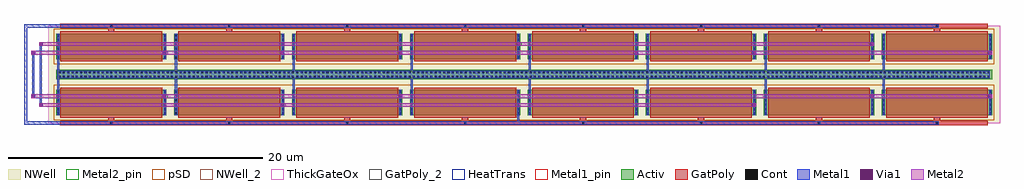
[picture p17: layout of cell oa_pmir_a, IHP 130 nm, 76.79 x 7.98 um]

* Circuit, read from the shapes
.subckt oa_pmir_a vdd
XM1 oa_pmir_a_r1_0/co oa_pmir_a_r1_0/vpg vdd vdd sg13_hv_pmos w=2u l=8u m=10
XM2 oa_pmir_a_r1_0/c8 oa_pmir_a_r1_0/vpg vdd vdd sg13_hv_pmos w=2u l=8u m=4
XM3 oa_pmir_a_r1_0/vpg oa_pmir_a_r1_0/vpg vdd vdd sg13_hv_pmos w=2u l=8u
XM4 oa_pmir_a_r2_1/c2 oa_pmir_a_r1_0/vpg vdd vdd sg13_hv_pmos w=2u l=8u
.ends

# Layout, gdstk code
import gdstk
lib = gdstk.Library(unit=1e-6, precision=1e-09)
def R(c, l, rs):  # rectangles x0, y0, x1, y1
    for r in rs: c.add(gdstk.rectangle(r[:2], r[2:], *l))
def A(c, l, x, y, w, h, nx, ny, dx, dy):  # array of equal rectangles
    R(c, l, [(x+i*dx, y+j*dy, x+i*dx+w, y+j*dy+h) for i in range(nx) for j in range(ny)])
Activ = (1, 0)
GatPoly = (5, 0)
GatPoly_2 = (5, 2)
Cont = (6, 0)
Metal1 = (8, 0)
Metal1_pin = (8, 2)
Metal2 = (10, 0)
Metal2_pin = (10, 2)
pSD = (14, 0)
Via1 = (19, 0)
NWell = (31, 0)
NWell_2 = (31, 2)
ThickGateOx = (44, 0)
HeatTrans = (51, 0)

pmoshv_9 = lib.new_cell('pmosHV$9')
R(pmoshv_9, Activ, [(0,0,0.3,0.3), (0,0,8.68,2), (8.38,0,8.68,0.3)])
R(pmoshv_9, GatPoly, [(0.34,-0.18,8.34,2.18)])
R(pmoshv_9, GatPoly_2, [(0.34,-0.18,8.34,2.18)])
A(pmoshv_9, Cont, 0.07, 0.07, 0.16, 0.16, 1, 6, 0, 0.34)
A(pmoshv_9, Cont, 8.45, 0.07, 0.16, 0.16, 1, 6, 0, 0.34)
R(pmoshv_9, Metal1, [(0.07,0,0.23,2), (8.45,0,8.61,2)])
R(pmoshv_9, Metal1_pin, [(0.07,0,0.23,2), (8.45,0,8.61,2)])
R(pmoshv_9, pSD, [(-0.18,-0.4,8.86,2.4)])
R(pmoshv_9, NWell, [(-0.62,-0.62,9.3,2.62)])
R(pmoshv_9, ThickGateOx, [(-0.62,-0.62,9.3,2.62)])
R(pmoshv_9, HeatTrans, [(0.34,-0.18,8.34,2.18)])
pmoshv_9.add(gdstk.Label('pmosHV', (4.34,1), layer=63, texttype=0))
pmoshv_9.add(gdstk.Label('pmos', (4.34,1), layer=51, texttype=0))

ntap1_12 = lib.new_cell('ntap1$12')
R(ntap1_12, Activ, [(0,0,73.64,0.78)])
A(ntap1_12, Cont, 0.19, 0.14, 0.16, 0.16, 216, 2, 0.34, 0.34)
R(ntap1_12, Metal1, [(0.19,0.09,73.45,0.69)])
R(ntap1_12, Metal1_pin, [(0.19,0.09,73.45,0.69), (0.19,0.14,73.45,0.64)])
R(ntap1_12, NWell, [(-0.24,-0.24,73.88,1.02), (0,0,73.64,0.78)])
R(ntap1_12, NWell_2, [(0,0,73.64,0.78)])
ntap1_12.add(gdstk.Label('well', (36.82,0.01), layer=63, texttype=0))
ntap1_12.add(gdstk.Label('well', (36.82,0.01), layer=31, texttype=0))

oa_pmir_a_r1 = lib.new_cell('oa_pmir_a_r1')
A(oa_pmir_a_r1, GatPoly, 4.09, 2, 0.5, 0.43, 8, 1, 9.28, 0)
R(oa_pmir_a_r1, GatPoly, [(0.34,2.42,73.3,2.78)])
A(oa_pmir_a_r1, Cont, 4.26, 2.52, 0.16, 0.16, 8, 1, 9.28, 0)
A(oa_pmir_a_r1, Metal1, 0.07, -1.01, 0.16, 1.06, 8, 1, 9.28, 0)
A(oa_pmir_a_r1, Metal1, 8.385, 0.355, 0.29, 0.29, 3, 1, 9.28, 0)
R(oa_pmir_a_r1, Metal1, [(0.07,-1.51,65.19,-0.91), (45.505,0.355,45.795,0.645), (54.785,0.355,55.075,0.645), (73.345,0.355,73.635,0.645), (36.225,1.055,36.515,1.345), (64.065,1.055,64.355,1.345), (4.21,2.47,69.43,2.73)])
R(oa_pmir_a_r1, Metal1_pin, [(0.19,-1.51,0.59,-0.91), (4.21,2.47,4.51,2.73)])
R(oa_pmir_a_r1, Metal2, [(8.385,0.355,73.635,0.645), (36.225,1.055,64.355,1.345)])
R(oa_pmir_a_r1, Metal2_pin, [(8.385,0.355,8.78,0.645), (36.225,1.055,36.62,1.345)])
R(oa_pmir_a_r1, pSD, [(-0.18,-0.4,73.82,2.4)])
A(oa_pmir_a_r1, Via1, 8.435, 0.405, 0.19, 0.19, 3, 1, 9.28, 0)
R(oa_pmir_a_r1, Via1, [(45.555,0.405,45.745,0.595), (54.835,0.405,55.025,0.595), (73.395,0.405,73.585,0.595), (36.275,1.105,36.465,1.295), (64.115,1.105,64.305,1.295)])
R(oa_pmir_a_r1, NWell, [(-0.62,-2.22,74.26,2.62)])
R(oa_pmir_a_r1, ThickGateOx, [(-0.62,-2.22,74.26,2.62)])
oa_pmir_a_r1.add(gdstk.Reference(pmoshv_9, (0,0)))
oa_pmir_a_r1.add(gdstk.Reference(pmoshv_9, (9.28,0)))
oa_pmir_a_r1.add(gdstk.Reference(pmoshv_9, (18.56,0)))
oa_pmir_a_r1.add(gdstk.Reference(pmoshv_9, (27.84,0)))
oa_pmir_a_r1.add(gdstk.Reference(pmoshv_9, (37.12,0)))
oa_pmir_a_r1.add(gdstk.Reference(pmoshv_9, (46.4,0)))
oa_pmir_a_r1.add(gdstk.Reference(pmoshv_9, (55.68,0)))
oa_pmir_a_r1.add(gdstk.Reference(pmoshv_9, (64.96,0)))
oa_pmir_a_r1.add(gdstk.Reference(ntap1_12, (0,-1.6)))
oa_pmir_a_r1.add(gdstk.Label('PO', (0,1), layer=63, texttype=0))
oa_pmir_a_r1.add(gdstk.Label('PO', (9.28,1), layer=63, texttype=0))
oa_pmir_a_r1.add(gdstk.Label('PO', (18.56,1), layer=63, texttype=0))
oa_pmir_a_r1.add(gdstk.Label('P8', (27.84,1), layer=63, texttype=0))
oa_pmir_a_r1.add(gdstk.Label('PO', (37.12,1), layer=63, texttype=0))
oa_pmir_a_r1.add(gdstk.Label('PO', (46.4,1), layer=63, texttype=0))
oa_pmir_a_r1.add(gdstk.Label('P8', (55.68,1), layer=63, texttype=0))
oa_pmir_a_r1.add(gdstk.Label('PO', (64.96,1), layer=63, texttype=0))
oa_pmir_a_r1.add(gdstk.Label('vpg', (4.36,2.6), layer=8, texttype=25))
oa_pmir_a_r1.add(gdstk.Label('vdd', (0.39,-1.21), layer=8, texttype=25))
oa_pmir_a_r1.add(gdstk.Label('co', (8.58,0.5), layer=10, texttype=25))
oa_pmir_a_r1.add(gdstk.Label('c8', (36.42,1.2), layer=10, texttype=25))

oa_pmir_a_r2 = lib.new_cell('oa_pmir_a_r2')
A(oa_pmir_a_r2, GatPoly, 4.09, 2, 0.5, 0.43, 8, 1, 9.28, 0)
R(oa_pmir_a_r2, GatPoly, [(0.34,2.42,73.3,2.78)])
A(oa_pmir_a_r2, Cont, 4.26, 2.52, 0.16, 0.16, 8, 1, 9.28, 0)
A(oa_pmir_a_r2, Metal1, 0.07, -1.01, 0.16, 1.06, 8, 1, 9.28, 0)
R(oa_pmir_a_r2, Metal1, [(0.07,-1.51,65.19,-0.91), (8.385,0.355,8.675,0.645), (26.945,0.355,27.235,0.645), (64.065,0.355,64.355,0.645), (73.345,0.355,73.635,0.645), (17.665,1.055,17.955,1.345), (54.785,1.055,55.075,1.345), (36.29,1.95,36.45,2.6), (4.21,2.47,69.43,2.73)])
R(oa_pmir_a_r2, Metal1_pin, [(0.19,-1.51,0.59,-0.91), (45.57,0.75,45.73,1.25), (4.21,2.47,4.51,2.73)])
R(oa_pmir_a_r2, Metal2, [(8.385,0.355,73.635,0.645), (17.665,1.055,55.075,1.345)])
R(oa_pmir_a_r2, Metal2_pin, [(8.385,0.355,8.78,0.645), (17.665,1.055,18.06,1.345)])
R(oa_pmir_a_r2, pSD, [(-0.18,-0.4,73.82,2.4)])
R(oa_pmir_a_r2, Via1, [(8.435,0.405,8.625,0.595), (26.995,0.405,27.185,0.595), (64.115,0.405,64.305,0.595), (73.395,0.405,73.585,0.595), (17.715,1.105,17.905,1.295), (54.835,1.105,55.025,1.295)])
R(oa_pmir_a_r2, NWell, [(-0.62,-2.22,74.26,2.62)])
R(oa_pmir_a_r2, ThickGateOx, [(-0.62,-2.22,74.26,2.62)])
oa_pmir_a_r2.add(gdstk.Reference(pmoshv_9, (0,0)))
oa_pmir_a_r2.add(gdstk.Reference(pmoshv_9, (9.28,0)))
oa_pmir_a_r2.add(gdstk.Reference(pmoshv_9, (18.56,0)))
oa_pmir_a_r2.add(gdstk.Reference(pmoshv_9, (27.84,0)))
oa_pmir_a_r2.add(gdstk.Reference(pmoshv_9, (37.12,0)))
oa_pmir_a_r2.add(gdstk.Reference(pmoshv_9, (46.4,0)))
oa_pmir_a_r2.add(gdstk.Reference(pmoshv_9, (55.68,0)))
oa_pmir_a_r2.add(gdstk.Reference(pmoshv_9, (64.96,0)))
oa_pmir_a_r2.add(gdstk.Reference(ntap1_12, (0,-1.6)))
oa_pmir_a_r2.add(gdstk.Label('PO', (0,1), layer=63, texttype=0))
oa_pmir_a_r2.add(gdstk.Label('P8', (9.28,1), layer=63, texttype=0))
oa_pmir_a_r2.add(gdstk.Label('PO', (18.56,1), layer=63, texttype=0))
oa_pmir_a_r2.add(gdstk.Label('P0', (27.84,1), layer=63, texttype=0))
oa_pmir_a_r2.add(gdstk.Label('P2', (37.12,1), layer=63, texttype=0))
oa_pmir_a_r2.add(gdstk.Label('P8', (46.4,1), layer=63, texttype=0))
oa_pmir_a_r2.add(gdstk.Label('PO', (55.68,1), layer=63, texttype=0))
oa_pmir_a_r2.add(gdstk.Label('PO', (64.96,1), layer=63, texttype=0))
oa_pmir_a_r2.add(gdstk.Label('vpg', (4.36,2.6), layer=8, texttype=25))
oa_pmir_a_r2.add(gdstk.Label('vdd', (0.39,-1.21), layer=8, texttype=25))
oa_pmir_a_r2.add(gdstk.Label('c2', (45.65,1), layer=8, texttype=25))
oa_pmir_a_r2.add(gdstk.Label('co', (8.58,0.5), layer=10, texttype=25))
oa_pmir_a_r2.add(gdstk.Label('c8', (17.86,1.2), layer=10, texttype=25))

oa_pmir_a = lib.new_cell('oa_pmir_a')
R(oa_pmir_a, Metal1, [(-2.53,-5.15,4.22,-4.89), (-2.53,-5.02,-2.27,2.6), (-1.345,-3.765,-1.055,-3.475), (-1.28,-3.62,-1.12,1.2), (-1.945,-3.065,-1.655,-2.775), (-1.88,-2.92,-1.72,0.5), (-1.945,0.355,-1.655,0.645), (-1.345,1.055,-1.055,1.345), (-2.53,2.47,4.22,2.73)])
R(oa_pmir_a, Metal2, [(-1.345,-3.765,17.81,-3.475), (-1.945,-3.065,8.53,-2.775), (-1.945,0.355,8.53,0.645), (-1.345,1.055,36.37,1.345)])
R(oa_pmir_a, Via1, [(-1.295,-3.715,-1.105,-3.525), (-1.895,-3.015,-1.705,-2.825), (-1.895,0.405,-1.705,0.595), (-1.295,1.105,-1.105,1.295)])
oa_pmir_a.add(gdstk.Reference(oa_pmir_a_r1, (0,0)))
oa_pmir_a.add(gdstk.Reference(oa_pmir_a_r2, (0,-2.42), x_reflection=True))

lib.write_gds('oa_pmir_a.gds')
